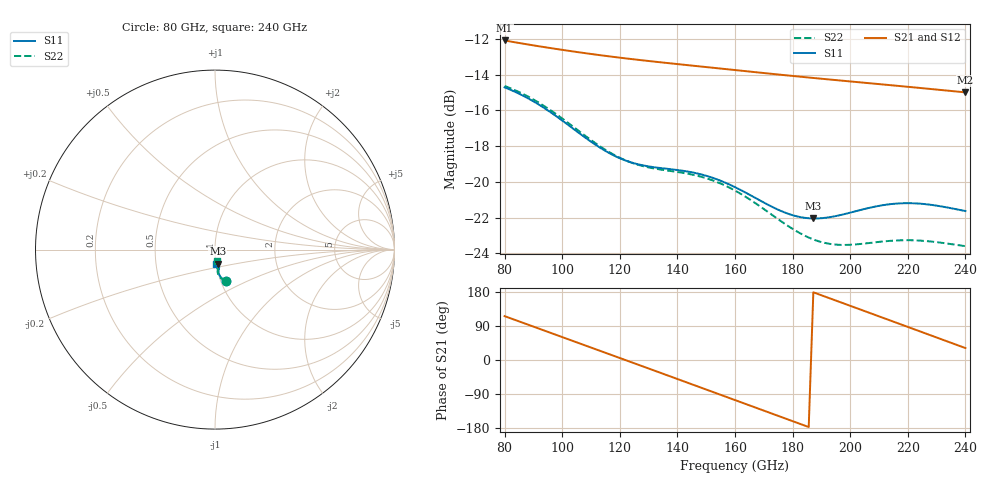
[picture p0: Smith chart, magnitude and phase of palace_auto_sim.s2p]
#  GHZ S DB R 50
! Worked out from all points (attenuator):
!   101 points, 80 GHz to 240 GHz, reference 50 ohm
!   highest |S21| = -12.09 dB at 80 GHz (marker M1); lowest = -15.0 dB at 240 GHz (marker M2)
!   lowest |S11| = -22.0 dB at 187.2 GHz (marker M3), VSWR 1.17, Z = 50.9 - j7.94 ohm
!   |S11| at or under -10 dB: start of sweep to end of sweep
!   |S22| runs from -23.6 to -14.6 dB; largest |S21 - S12| = 3.7e-14
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80  -14.71 -70.3  -12.09 115.7  -12.09 115.7  -14.63 -70.9
86.4  -15.18 -73.6  -12.27 98.1  -12.27 98.1  -15.08 -74.4
92.8  -15.77 -76.7  -12.43 80.4  -12.43 80.4  -15.66 -77.8
99.2  -16.47 -79.3  -12.59 62.7  -12.59 62.7  -16.36 -80.7
107.2  -17.43 -80.9  -12.78 40.6  -12.78 40.6  -17.32 -82.9
113.6  -18.13 -80.8  -12.92 22.9  -12.92 22.9  -18.06 -83.2
120  -18.68 -79.8  -13.05 5.2  -13.05 5.2  -18.65 -82.6
126.4  -19.02 -78.7  -13.17 -12.5  -13.17 -12.5  -19.05 -81.8
134.4  -19.23 -78.2  -13.31 -34.6  -13.31 -34.6  -19.32 -81.5
147.2  -19.54 -80.4  -13.53 -70.1  -13.53 -70.1  -19.67 -84.3
153.6  -19.85 -82.3  -13.63 -87.9  -13.63 -87.9  -20.00 -86.7
160  -20.29 -83.8  -13.74 -105.8  -13.74 -105.8  -20.49 -89.0
166.4  -20.84 -84.5  -13.85 -123.6  -13.85 -123.6  -21.12 -90.7
174.4  -21.51 -83.5  -13.98 -145.8  -13.98 -145.8  -22.02 -91.1
180.8  -21.90 -81.3  -14.08 -163.6  -14.08 -163.6  -22.71 -89.7
187.2  -22.05 -78.7  -14.18 178.6  -14.18 178.6  -23.22 -87.1
200  -21.72 -75.7  -14.38 143.0  -14.38 143.0  -23.52 -81.6
208  -21.40 -76.5  -14.50 120.7  -14.50 120.7  -23.39 -80.0
214.4  -21.24 -78.2  -14.59 102.9  -14.59 102.9  -23.29 -80.0
220.8  -21.19 -80.4  -14.69 85.1  -14.69 85.1  -23.27 -80.6
227.2  -21.27 -82.6  -14.79 67.2  -14.79 67.2  -23.32 -81.4
240  -21.63 -85.8  -14.99 31.5  -14.99 31.5  -23.60 -82.4
